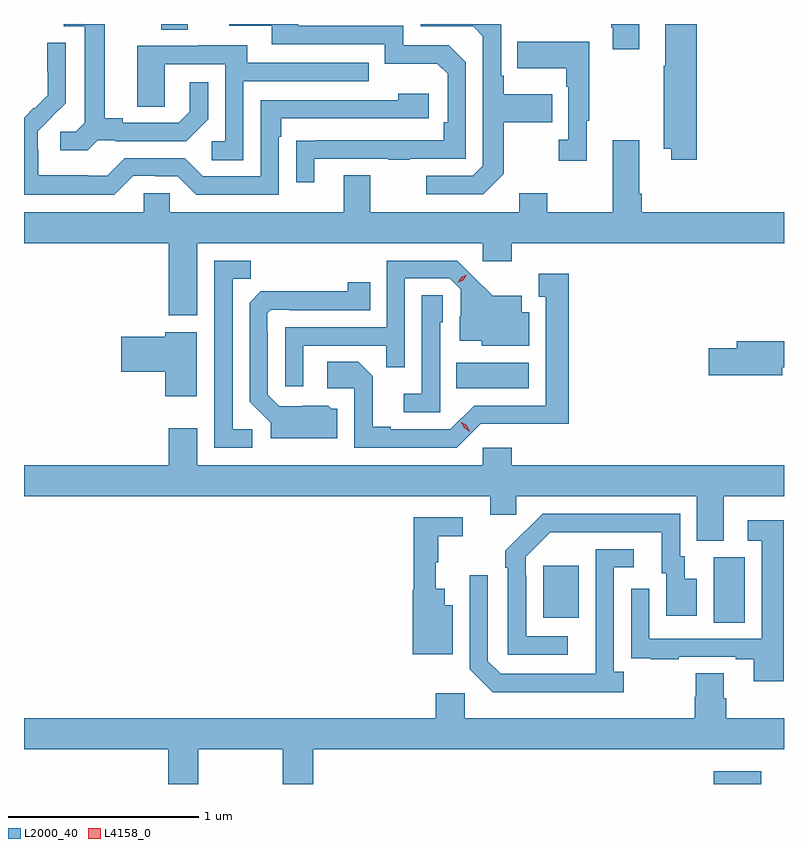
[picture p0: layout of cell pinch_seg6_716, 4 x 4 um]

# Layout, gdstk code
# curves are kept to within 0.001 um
import gdstk
lib = gdstk.Library(unit=1e-6, precision=1e-09)
def R(c, l, rs):  # rectangles x0, y0, x1, y1
    for r in rs: c.add(gdstk.rectangle(r[:2], r[2:], *l))
def P(c, l, *ps):  # polygons
    for p in ps: c.add(gdstk.Polygon(p, *l))
L2000_40 = (2000, 40)
L4158_0 = (4158, 0)

pinch_seg6_716 = lib.new_cell('pinch_seg6_716')
R(pinch_seg6_716, L2000_40, [(615.8,940.494,616.051,940.561), (615.8,941.344,615.964,941.688), (614.903,941.369,615.091,941.644), (614.446,942.578,614.827,942.712), (612.893,944.464,613.033,944.494)])
P(pinch_seg6_716, L2000_40, [(613.699,943.785),(614.089,943.785),(614.089,943.78),(614.201,943.78),(614.201,943.785),(614.496,943.785),(614.496,944.292),(614.406,944.382),(614.166,944.382),(614.166,944.484),(613.615,944.484),(613.615,944.494),(613.251,944.494),(613.251,944.484),(613.475,944.484),(613.475,944.388),(614.07,944.388),(614.07,944.285),(614.347,944.285),(614.4,944.232),(614.4,943.978),(614.38,943.978),(614.38,943.881),(613.603,943.88),(613.603,943.662),(613.699,943.662)],
  [(615.713,944.494),(615.545,944.494),(615.545,944.273),(615.538,944.273),(615.538,943.838),(615.578,943.838),(615.578,943.779),(615.713,943.779)],
  [(612.558,943.881),(612.652,943.881),(612.652,943.878),(613.024,943.878),(613.14,943.994),(613.14,944.188),(613.043,944.188),(613.043,944.031),(612.986,943.974),(612.691,943.974),(612.691,943.997),(612.595,943.997),(612.595,944.494),(612.381,944.494),(612.381,944.481),(612.491,944.481),(612.491,943.973),(612.444,943.926),(612.363,943.926),(612.363,943.829),(612.506,943.829)],
  [(615.409,944.494),(615.262,944.494),(615.262,944.473),(615.269,944.473),(615.269,944.361),(615.409,944.361)],
  [(614.695,943.705),(614.695,943.978),(614.951,943.978),(614.951,944.125),(614.695,944.125),(614.695,944.221),(614.682,944.221),(614.682,944.49),(614.678,944.494),(614.259,944.494),(614.259,944.481),(614.535,944.481),(614.586,944.43),(614.586,943.749),(614.532,943.695),(614.289,943.695),(614.289,943.599),(614.589,943.599)],
  [(615.133,943.985),(615.145,943.985),(615.145,944.401),(614.767,944.401),(614.767,944.261),(615.024,944.261),(615.024,944.165),(615.036,944.165),(615.036,943.886),(614.985,943.886),(614.985,943.773),(615.133,943.773)],
  [(612.747,943.695),(612.863,943.695),(612.863,943.692),(612.981,943.692),(613.077,943.596),(613.512,943.596),(613.512,943.901),(613.525,943.901),(613.525,943.998),(614.302,943.998),(614.302,944.128),(614.141,944.128),(614.141,944.094),(613.416,944.094),(613.416,943.692),(613.113,943.692),(613.017,943.788),(612.702,943.788),(612.609,943.695),(612.509,943.695),(612.509,943.699),(612.246,943.699),(612.246,943.833),(612.244,943.833),(612.244,943.93),(612.39,944.078),(612.39,944.396),(612.294,944.396),(612.294,944.242),(612.296,944.242),(612.296,944.12),(612.225,944.049),(612.222,944.052),(612.171,944.001),(612.171,943.595),(612.647,943.595)],
  [(613.326,944.193),(613.985,944.193),(613.985,944.289),(613.345,944.289),(613.345,944.383),(613.091,944.383),(613.091,944.379),(612.767,944.379),(612.767,944.059),(612.912,944.059),(612.912,944.283),(613.23,944.283),(613.23,943.878),(613.158,943.878),(613.158,943.777),(613.326,943.777)],
  [(613.084,943.34),(614.586,943.34),(614.586,943.245),(614.738,943.245),(614.738,943.34),(616.171,943.34),(616.171,943.504),(615.422,943.504),(615.422,943.6),(615.409,943.6),(615.409,943.882),(615.269,943.882),(615.269,943.504),(614.925,943.504),(614.925,943.603),(614.777,943.603),(614.777,943.504),(613.993,943.504),(613.993,943.699),(613.853,943.699),(613.853,943.504),(612.939,943.504),(612.939,943.602),(612.801,943.602),(612.801,943.504),(612.171,943.504),(612.171,943.34),(612.932,943.34),(612.932,942.96),(613.084,942.96)],
  [(613.372,942.36),(613.269,942.36),(613.269,943.153),(613.365,943.153),(613.365,943.248),(613.173,943.248),(613.173,942.264),(613.372,942.264)],
  [(613.641,942.801),(614.077,942.801),(614.077,942.688),(614.175,942.688),(614.175,943.155),(614.412,943.155),(614.469,943.098),(614.469,942.956),(614.465,942.956),(614.465,942.827),(614.58,942.827),(614.58,942.8),(614.83,942.8),(614.83,942.976),(614.791,942.976),(614.791,943.063),(614.639,943.063),(614.452,943.248),(614.079,943.248),(614.079,942.897),(613.545,942.897),(613.545,942.588),(613.641,942.588)],
  [(614.574,942.39),(615.037,942.389),(615.037,943.18),(614.879,943.18),(614.879,943.059),(614.918,943.059),(614.918,942.486),(614.541,942.486),(614.415,942.36),(614.101,942.36),(614.101,942.373),(614.007,942.373),(614.007,942.64),(613.931,942.716),(613.767,942.716),(613.767,942.576),(613.908,942.576),(613.908,942.264),(614.448,942.264)],
  [(613.819,942.468),(613.788,942.468),(613.772,942.484),(613.515,942.483),(613.455,942.543),(613.455,942.872),(613.452,942.872),(613.452,942.972),(613.47,942.99),(613.57,942.99),(613.57,942.987),(613.994,942.987),(613.994,943.135),(613.876,943.135),(613.876,943.088),(613.418,943.087),(613.359,943.028),(613.359,942.506),(613.469,942.396),(613.469,942.314),(613.819,942.314)],
  [(614.361,942.924),(614.376,942.924),(614.376,943.067),(614.265,943.067),(614.265,942.547),(614.169,942.547),(614.169,942.45),(614.361,942.45)],
  [(613.081,942.871),(612.914,942.871),(612.914,942.848),(612.684,942.848),(612.684,942.665),(612.914,942.665),(612.914,942.534),(613.081,942.534)],
  [(616.162,942.688),(616.171,942.688),(616.171,942.824),(615.923,942.824),(615.923,942.788),(615.774,942.788),(615.774,942.646),(616.162,942.646)],
  [(615.853,942.008),(616.171,942.008),(616.171,942.172),(614.738,942.172),(614.738,942.265),(614.586,942.265),(614.586,942.172),(613.084,942.172),(613.084,942.367),(612.932,942.367),(612.932,942.172),(612.171,942.172),(612.171,942.008),(614.624,942.008),(614.624,941.91),(614.763,941.91),(614.763,942.008),(615.713,942.008),(615.713,941.773),(615.853,941.773)],
  [(615.034,941.271),(614.814,941.271),(614.814,941.591),(614.811,941.591),(614.811,941.691),(614.94,941.82),(615.527,941.82),(615.527,941.604),(615.551,941.604),(615.551,941.379),(615.712,941.379),(615.712,941.575),(615.649,941.575),(615.649,941.694),(615.624,941.694),(615.624,941.916),(614.9,941.916),(614.703,941.721),(614.703,941.633),(614.718,941.633),(614.718,941.175),(615.034,941.175)],
  [(614.428,941.434),(614.386,941.434),(614.386,941.521),(614.339,941.521),(614.339,941.661),(614.35,941.661),(614.35,941.797),(614.479,941.797),(614.479,941.898),(614.221,941.898),(614.221,941.517),(614.216,941.517),(614.216,941.177),(614.428,941.177)],
  [(616.169,941.881),(615.981,941.881),(615.981,941.775),(616.053,941.775),(616.053,941.259),(615.462,941.259),(615.462,941.521),(615.366,941.521),(615.366,941.266),(615.367,941.266),(615.367,941.157),(615.469,941.157),(615.469,941.151),(615.617,941.151),(615.617,941.163),(615.917,941.163),(615.917,941.151),(616.013,941.151),(616.013,941.034),(616.169,941.034)],
  [(615.328,941.086),(615.276,941.086),(615.276,941.634),(615.379,941.634),(615.379,941.73),(615.18,941.73),(615.179,941.073),(614.679,941.073),(614.613,941.139),(614.613,941.593),(614.517,941.593),(614.517,941.097),(614.638,940.976),(615.328,940.976)],
  [(613.089,940.676),(613.534,940.676),(613.534,940.494),(613.694,940.494),(613.694,940.676),(616.171,940.676),(616.171,940.84),(615.866,940.84),(615.866,940.946),(615.853,940.946),(615.853,941.078),(615.706,941.078),(615.706,940.953),(615.701,940.953),(615.701,940.84),(614.49,940.84),(614.49,940.972),(614.339,940.972),(614.339,940.84),(612.171,940.84),(612.171,940.676),(612.929,940.676),(612.929,940.494),(613.089,940.494)])
P(pinch_seg6_716, L4158_0, [(614.518,942.349),(614.487,942.368),(614.47,942.401),(614.47,942.401),(614.47,942.401),(614.501,942.382),(614.518,942.349),(614.518,942.349)],
  [(614.453,943.131),(614.453,943.131),(614.471,943.16),(614.501,943.175),(614.502,943.175),(614.502,943.174),(614.484,943.145),(614.453,943.131)])

lib.write_gds('pinch_seg6_716.gds')
